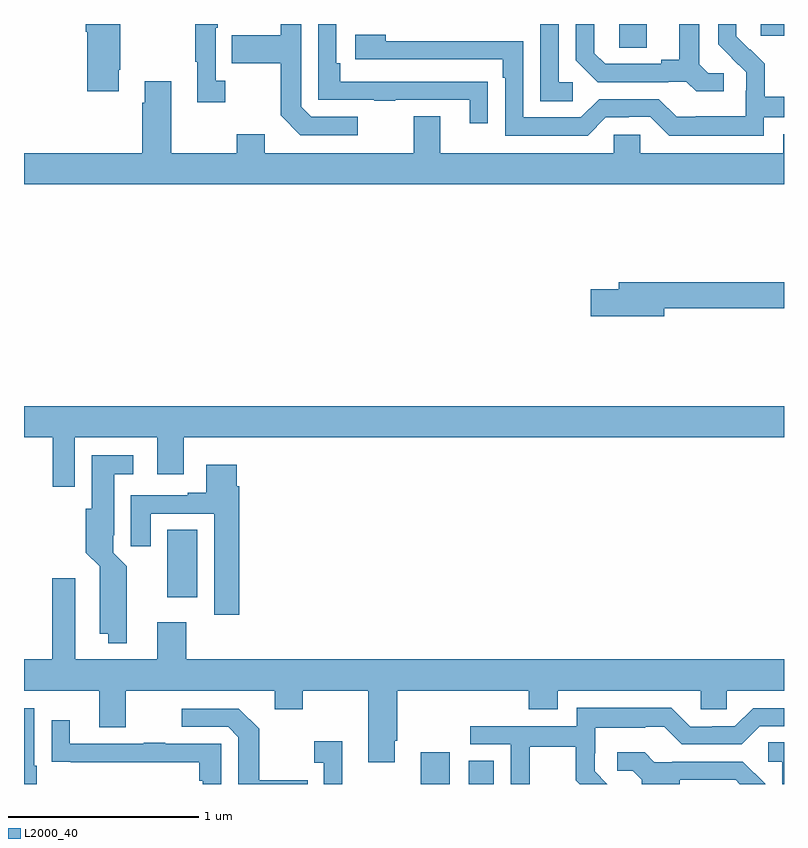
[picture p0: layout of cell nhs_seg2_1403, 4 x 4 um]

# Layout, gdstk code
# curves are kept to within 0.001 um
import gdstk
lib = gdstk.Library(unit=1e-6, precision=1e-09)
def R(c, l, rs):  # rectangles x0, y0, x1, y1
    for r in rs: c.add(gdstk.rectangle(r[:2], r[2:], *l))
def P(c, l, *ps):  # polygons
    for p in ps: c.add(gdstk.Polygon(p, *l))
L2000_40 = (2000, 40)

nhs_seg2_1403 = lib.new_cell('nhs_seg2_1403')
R(nhs_seg2_1403, L2000_40, [(185.087,657.8,185.242,657.967), (185.342,657.8,185.473,657.923), (183.755,658.782,183.913,659.138), (186.132,661.675,186.277,661.8), (186.878,661.737,187,661.8)])
P(nhs_seg2_1403, L2000_40, [(185.441,661.496),(185.339,661.496),(185.339,661.497),(184.664,661.497),(184.664,661.594),(184.644,661.594),(184.644,661.8),(184.548,661.8),(184.548,661.401),(184.843,661.401),(184.843,661.396),(184.955,661.396),(184.955,661.401),(185.345,661.401),(185.345,661.278),(185.441,661.278)],
  [(186.682,661.542),(186.6,661.542),(186.553,661.589),(186.553,661.8),(186.449,661.8),(186.449,661.613),(186.353,661.613),(186.353,661.59),(186.058,661.59),(186.001,661.647),(186.001,661.8),(185.904,661.8),(185.904,661.61),(186.02,661.494),(186.392,661.494),(186.392,661.497),(186.486,661.497),(186.538,661.445),(186.682,661.445)],
  [(185.887,661.494),(185.814,661.494),(185.814,661.8),(185.718,661.8),(185.718,661.393),(185.887,661.393)],
  [(183.499,661.558),(183.507,661.558),(183.507,661.8),(183.326,661.8),(183.326,661.758),(183.332,661.758),(183.332,661.446),(183.499,661.446)],
  [(184.06,661.502),(184.008,661.502),(184.008,661.781),(184.021,661.781),(184.021,661.8),(183.9,661.8),(183.9,661.601),(183.911,661.601),(183.911,661.389),(184.06,661.389)],
  [(186.894,661.308),(187,661.308),(187,661.417),(186.899,661.417),(186.899,661.591),(186.822,661.668),(186.819,661.665),(186.749,661.736),(186.749,661.8),(186.654,661.8),(186.654,661.694),(186.8,661.546),(186.8,661.449),(186.798,661.449),(186.798,661.315),(186.535,661.315),(186.535,661.311),(186.435,661.311),(186.342,661.404),(186.027,661.404),(185.931,661.308),(185.628,661.308),(185.628,661.71),(184.904,661.71),(184.904,661.744),(184.743,661.744),(184.743,661.614),(185.519,661.614),(185.519,661.517),(185.532,661.517),(185.532,661.212),(185.967,661.212),(186.063,661.308),(186.182,661.308),(186.182,661.311),(186.297,661.311),(186.397,661.211),(186.894,661.211)],
  [(184.756,661.311),(184.512,661.311),(184.458,661.365),(184.458,661.8),(184.35,661.8),(184.35,661.741),(184.093,661.741),(184.093,661.594),(184.35,661.594),(184.35,661.321),(184.455,661.215),(184.756,661.215)],
  [(187,661.219),(186.995,661.219),(186.995,661.12),(186.243,661.12),(186.243,661.218),(186.105,661.218),(186.105,661.12),(185.191,661.12),(185.191,661.315),(185.051,661.315),(185.051,661.12),(184.267,661.12),(184.267,661.219),(184.12,661.219),(184.12,661.12),(183.775,661.12),(183.775,661.498),(183.635,661.498),(183.635,661.385),(183.623,661.385),(183.623,661.12),(183,661.12),(183,660.956),(187,660.956)],
  [(186.37,660.304),(187,660.304),(187,660.44),(186.131,660.44),(186.131,660.404),(185.982,660.404),(185.982,660.262),(186.37,660.262)],
  [(183.267,659.624),(183.701,659.624),(183.701,659.43),(183.841,659.43),(183.841,659.624),(187,659.624),(187,659.788),(183,659.788),(183,659.624),(183.151,659.624),(183.151,659.364),(183.267,659.364)],
  [(183.54,658.844),(183.541,658.946),(183.471,659.016),(183.471,659.11),(183.475,659.11),(183.475,659.429),(183.574,659.429),(183.574,659.53),(183.356,659.53),(183.356,659.25),(183.326,659.25),(183.326,659.018),(183.398,658.946),(183.398,658.592),(183.443,658.592),(183.443,658.541),(183.54,658.541)],
  [(184.133,659.366),(184.12,659.366),(184.12,659.479),(183.959,659.479),(183.959,659.332),(183.863,659.332),(183.863,659.319),(183.563,659.319),(183.563,659.052),(183.667,659.052),(183.667,659.223),(184.001,659.223),(184.001,658.692),(184.133,658.692)],
  [(184.951,658.027),(184.964,658.027),(184.964,658.292),(185.657,658.292),(185.657,658.193),(185.809,658.193),(185.809,658.292),(186.561,658.292),(186.561,658.194),(186.699,658.194),(186.699,658.292),(187,658.292),(187,658.456),(183.854,658.456),(183.854,658.651),(183.701,658.651),(183.701,658.456),(183.271,658.456),(183.271,658.882),(183.149,658.882),(183.149,658.456),(183,658.456),(183,658.292),(183.395,658.292),(183.395,658.098),(183.535,658.098),(183.535,658.292),(184.319,658.292),(184.319,658.193),(184.467,658.193),(184.467,658.292),(184.811,658.292),(184.811,657.915),(184.951,657.915)],
  [(185.661,657.996),(185.905,657.996),(185.905,657.821),(185.926,657.8),(186.07,657.8),(186.004,657.866),(186.004,657.963),(186.006,657.963),(186.006,658.097),(186.269,658.097),(186.269,658.101),(186.369,658.101),(186.462,658.008),(186.777,658.008),(186.873,658.104),(187,658.104),(187,658.2),(186.837,658.2),(186.741,658.104),(186.623,658.104),(186.623,658.101),(186.507,658.101),(186.407,658.201),(185.91,658.201),(185.91,658.104),(185.349,658.104),(185.349,658.008),(185.562,658.008),(185.562,657.8),(185.661,657.8)],
  [(183.067,657.895),(183.054,657.895),(183.054,658.2),(183,658.2),(183,657.8),(183.067,657.8)],
  [(184.493,657.819),(184.237,657.819),(184.237,658.091),(184.131,658.197),(183.831,658.197),(183.831,658.101),(184.074,658.101),(184.128,658.047),(184.128,657.8),(184.493,657.8)],
  [(184.038,658.011),(183.743,658.011),(183.743,658.016),(183.631,658.016),(183.631,658.011),(183.241,658.011),(183.241,658.135),(183.145,658.135),(183.145,657.916),(183.247,657.916),(183.247,657.915),(183.922,657.915),(183.922,657.818),(183.942,657.818),(183.942,657.8),(184.038,657.8)],
  [(184.674,658.024),(184.527,658.024),(184.527,657.911),(184.578,657.911),(184.578,657.8),(184.674,657.8)],
  [(187,658.019),(186.918,658.019),(186.918,657.918),(186.99,657.918),(186.99,657.8),(187,657.8)],
  [(186.451,657.822),(186.746,657.822),(186.768,657.8),(186.9,657.8),(186.9,657.802),(186.784,657.918),(186.412,657.918),(186.412,657.915),(186.318,657.915),(186.266,657.967),(186.123,657.967),(186.123,657.87),(186.204,657.87),(186.251,657.823),(186.251,657.8),(186.451,657.8)])

lib.write_gds('nhs_seg2_1403.gds')
